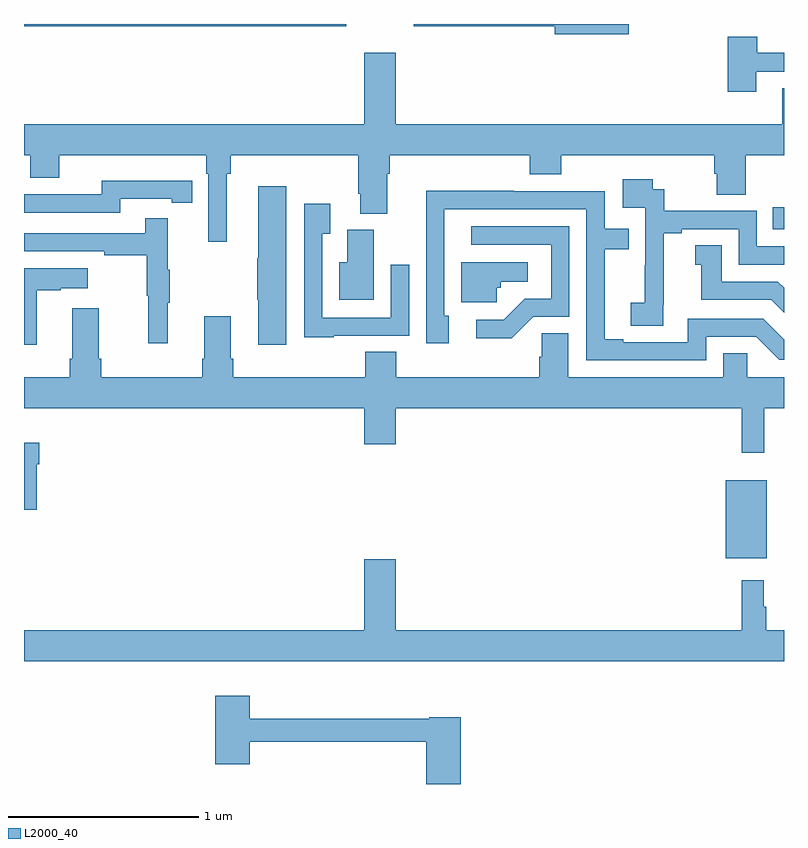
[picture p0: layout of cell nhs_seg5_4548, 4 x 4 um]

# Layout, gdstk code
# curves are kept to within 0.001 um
import gdstk
lib = gdstk.Library(unit=1e-6, precision=1e-09)
def R(c, l, rs):  # rectangles x0, y0, x1, y1
    for r in rs: c.add(gdstk.rectangle(r[:2], r[2:], *l))
def P(c, l, *ps):  # polygons
    for p in ps: c.add(gdstk.Polygon(p, *l))
L2000_40 = (2000, 40)

nhs_seg5_4548 = lib.new_cell('nhs_seg5_4548')
R(nhs_seg5_4548, L2000_40, [(382.694,839.987,382.909,840.397), (382.942,841.719,383,841.834), (379,842.788,380.696,842.799)])
P(nhs_seg5_4548, L2000_40, [(382.183,842.799),(381.052,842.799),(381.052,842.788),(381.794,842.788),(381.794,842.746),(382.183,842.746)],
  [(382.855,842.547),(383,842.547),(383,842.647),(382.858,842.647),(382.858,842.731),(382.703,842.731),(382.703,842.442),(382.855,842.442)],
  [(380.792,842.272),(379,842.272),(379,842.108),(379.034,842.108),(379.034,841.991),(379.186,841.991),(379.186,842.108),(379.958,842.108),(379.958,842.012),(379.971,842.012),(379.971,841.653),(380.068,841.653),(380.068,842.012),(380.087,842.012),(380.087,842.108),(380.759,842.108),(380.759,841.906),(380.771,841.906),(380.771,841.801),(380.911,841.801),(380.911,842.012),(380.924,842.012),(380.924,842.108),(381.662,842.108),(381.662,842.009),(381.827,842.009),(381.827,842.108),(382.634,842.108),(382.634,842.01),(382.646,842.01),(382.646,841.9),(382.799,841.9),(382.799,842.108),(383,842.108),(383,842.462),(382.991,842.462),(382.991,842.272),(380.956,842.272),(380.956,842.647),(380.792,842.647)],
  [(382.364,841.321),(382.366,841.321),(382.366,841.699),(382.462,841.699),(382.462,841.719),(382.761,841.719),(382.761,841.533),(383,841.533),(383,841.629),(382.857,841.629),(382.857,841.815),(382.37,841.815),(382.37,841.929),(382.308,841.929),(382.308,841.981),(382.152,841.981),(382.152,841.833),(382.269,841.833),(382.269,841.529),(382.268,841.529),(382.268,841.332),(382.194,841.332),(382.194,841.21),(382.364,841.21)],
  [(379.506,841.878),(379.778,841.878),(379.778,841.858),(379.886,841.858),(379.886,841.974),(379.778,841.974),(379.778,841.975),(379.41,841.975),(379.41,841.902),(379,841.902),(379,841.806),(379.506,841.806)],
  [(380.38,841.945),(380.234,841.945),(380.234,841.565),(380.227,841.565),(380.227,841.348),(380.234,841.348),(380.234,841.11),(380.38,841.11)],
  [(382.59,841.152),(382.854,841.152),(382.974,841.032),(383,841.032),(383,841.138),(382.89,841.248),(382.494,841.248),(382.494,841.125),(382.153,841.125),(382.153,841.14),(382.057,841.14),(382.057,841.614),(382.184,841.614),(382.184,841.722),(382.056,841.722),(382.056,841.92),(381.578,841.92),(381.578,841.922),(381.116,841.922),(381.117,841.119),(381.235,841.119),(381.235,841.263),(381.213,841.263),(381.213,841.824),(381.96,841.824),(381.96,841.029),(382.59,841.029)],
  [(380.631,841.158),(381.027,841.158),(381.027,841.531),(380.931,841.531),(380.931,841.254),(380.571,841.254),(380.571,841.696),(380.611,841.696),(380.611,841.852),(380.475,841.852),(380.475,841.151),(380.631,841.151)],
  [(379.757,841.331),(379.768,841.331),(379.768,841.505),(379.757,841.505),(379.757,841.777),(379.639,841.777),(379.639,841.698),(379,841.698),(379,841.602),(379.423,841.602),(379.423,841.582),(379.647,841.582),(379.647,841.368),(379.654,841.368),(379.654,841.119),(379.757,841.119)],
  [(381.681,841.257),(381.87,841.257),(381.87,841.734),(381.354,841.734),(381.354,841.638),(381.774,841.638),(381.774,841.353),(381.636,841.353),(381.525,841.242),(381.381,841.242),(381.381,841.145),(381.568,841.145)],
  [(380.842,841.716),(380.702,841.716),(380.702,841.546),(380.66,841.546),(380.66,841.349),(380.842,841.349)],
  [(383,841.411),(382.968,841.443),(382.672,841.443),(382.672,841.634),(382.532,841.634),(382.532,841.531),(382.565,841.531),(382.565,841.347),(382.932,841.347),(383,841.279)],
  [(381.489,841.41),(381.508,841.41),(381.508,841.442),(381.652,841.442),(381.652,841.546),(381.302,841.546),(381.302,841.335),(381.489,841.335)],
  [(379.066,841.399),(379.193,841.399),(379.193,841.409),(379.336,841.409),(379.336,841.513),(379,841.513),(379,841.11),(379.066,841.11)],
  [(382.895,840.776),(383,840.776),(383,840.94),(382.806,840.94),(382.806,841.067),(382.679,841.067),(382.679,840.94),(381.865,840.94),(381.865,841.172),(381.726,841.172),(381.726,841.049),(381.713,841.049),(381.713,840.94),(380.96,840.94),(380.96,841.073),(380.795,841.073),(380.795,840.94),(380.102,840.94),(380.102,841.036),(380.089,841.036),(380.089,841.261),(379.949,841.261),(379.949,841.036),(379.937,841.036),(379.937,840.94),(379.406,840.94),(379.406,841.036),(379.393,841.036),(379.393,841.303),(379.253,841.303),(379.253,841.036),(379.241,841.036),(379.241,840.94),(379,840.94),(379,840.776),(380.792,840.776),(380.792,840.588),(380.956,840.588),(380.956,840.776),(382.777,840.776),(382.777,840.543),(382.895,840.543)],
  [(379.066,840.482),(379.079,840.482),(379.079,840.595),(379,840.595),(379,840.242),(379.066,840.242)],
  [(383,839.608),(382.906,839.608),(382.906,839.732),(382.894,839.732),(382.894,839.872),(382.777,839.872),(382.777,839.608),(380.956,839.608),(380.956,839.983),(380.792,839.983),(380.792,839.608),(379,839.608),(379,839.444),(383,839.444)],
  [(381.299,839.151),(381.132,839.151),(381.132,839.143),(380.189,839.143),(380.189,839.263),(380.006,839.263),(380.006,838.902),(380.189,838.902),(380.189,839.022),(381.116,839.022),(381.116,838.799),(381.299,838.799)])

lib.write_gds('nhs_seg5_4548.gds')
